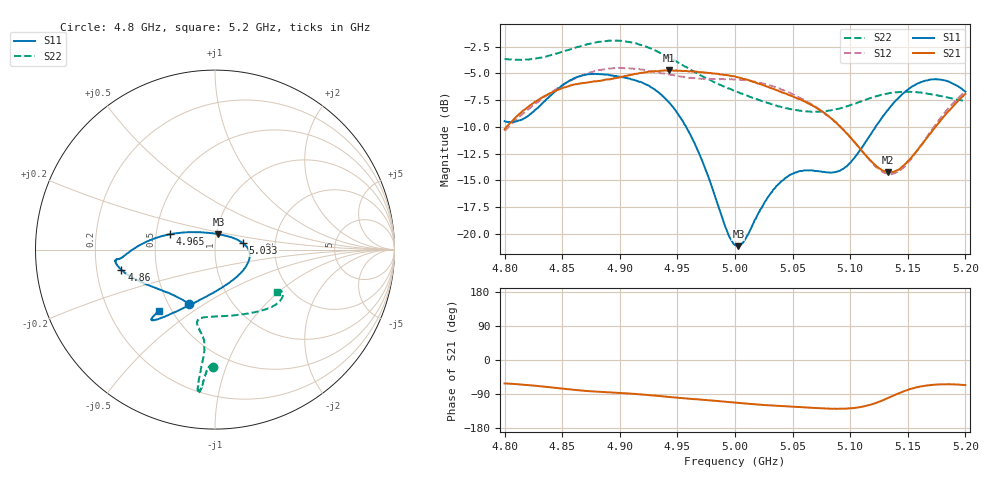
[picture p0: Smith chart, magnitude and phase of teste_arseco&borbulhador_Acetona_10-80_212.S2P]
! Network Analyzer HP8722D
! Hewlett-Packard
! Data name: Linha & Wilkinson
! Saver's name: Rodrigo Anjos
! Comments: Teste da utilização de aquisição
! continua pelo VNA HP8722D
! Time and date: 17/4/2025 16:07
!  Frequency  S11  S21  S12  S22
# HZ  S  MA R 50
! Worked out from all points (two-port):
!   401 points, 4.8 GHz to 5.2 GHz, reference 50 ohm
!   highest |S21| = -4.72 dB at 4.943 GHz (marker M1); lowest = -14.2 dB at 5.133 GHz (marker M2)
!   |S21| within 3 dB of the highest: 4.826 GHz to 5.062 GHz (236.2 MHz wide, 4.78 % of centre); 5.192343 GHz to end of sweep
!   lowest |S11| = -21.1 dB at 5.003 GHz (marker M3), VSWR 1.19, Z = 51.2 + j8.83 ohm
!   |S11| at or under -10 dB: 4.958 GHz to 5.122 GHz (164.4 MHz wide, 3.26 % of centre)
!   |S22| runs from -8.6 to -1.9 dB; largest |S21 - S12| = 0.87
!   S11 on the Smith chart (normalised r, x): 4.8 GHz: 0.63, -0.43; 4.86 GHz: 0.31, -0.10; 4.965 GHz: 0.59, +0.11; 5.033 GHz: 1.37, +0.10; 5.2 GHz: 0.43, -0.37
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4.8e9  0.3363 -115.9  0.3083 -61.9  0.3032 -176.1  0.6568 -91.0
4.818e9  0.3494 -135.0  0.3826 -65.5  0.3727 -175.4  0.6512 -92.6
4.86e9  0.5335 -167.6  0.4977 -78.7  0.5286 -178.7  0.7369 -95.0
4.867e9  0.5486 -170.3  0.5055 -80.8  0.55 179.9  0.7568 -95.3
4.9e9  0.5423 -174.4  0.5385 -87.0  0.5965 173.8  0.7977 -96.7
4.934e9  0.4566 179.8  0.5763 -95.1  0.5685 170.4  0.7048 -97.0
4.943e9  0.4101 175.7  0.5811 -97.7  0.5562 170.5  0.6665 -96.8
4.965e9  0.2648 161.2  0.5742 -103.5  0.5337 172.5  0.5706 -96.0
4.993e9  0.1033 114.5  0.552 -110.6  0.5287 174.8  0.4818 -98.6
5e9  0.0889 89.4  0.5445 -112.6  0.5268 174.8  0.4648 -99.9
5.003e9  0.08771 77.4  0.5375 -113.4  0.5261 174.7  0.4582 -100.7
5.033e9  0.1603 13.2  0.4759 -120.2  0.4883 173.3  0.4019 -103.3
5.048e9  0.1893 -1.2  0.4442 -122.8  0.4554 172.8  0.3827 -99.5
5.067e9  0.1979 -21.5  0.3997 -126.2  0.402 172.3  0.3716 -89.0
5.096e9  0.2055 -72.0  0.2986 -128.3  0.2991 174.6  0.3927 -66.4
5.121e9  0.3096 -110.0  0.2115 -114.8  0.209 -169.8  0.437 -49.6
5.133e9  0.3807 -119.4  0.1943 -100.0  0.1906 -153.3  0.453 -43.7
5.134e9  0.3874 -120.1  0.1944 -98.7  0.1904 -151.7  0.4547 -43.2
5.146e9  0.4536 -125.9  0.2081 -83.2  0.2033 -133.7  0.4613 -38.6
5.168e9  0.5238 -131.3  0.288 -66.9  0.2914 -113.2  0.4506 -33.1
5.184e9  0.5175 -132.6  0.3683 -64.1  0.3801 -108.4  0.4349 -32.1
5.2e9  0.4615 -132.6  0.4509 -66.2  0.4627 -108.4  0.4166 -34.6
